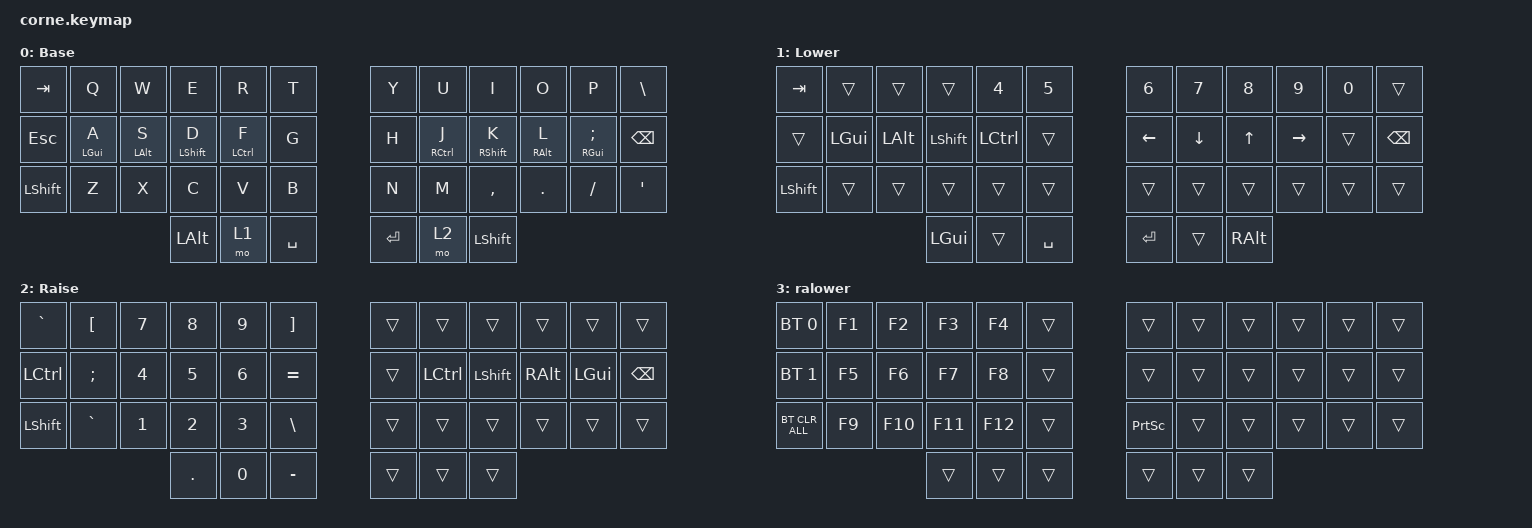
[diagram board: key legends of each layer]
/*
 * Copyright (c) 2020 The ZMK Contributors
 *
 * SPDX-License-Identifier: MIT
 */

#include <behaviors.dtsi>
#include <dt-bindings/zmk/bt.h>
#include <dt-bindings/zmk/keys.h>

/ {
    behaviors {
        hml: homerow_mods_left {
            compatible = "zmk,behavior-hold-tap";
            label = "HOMEROW_MODS_LEFT_HAND";
            bindings = <&kp>, <&kp>;

            #binding-cells = <2>;
            tapping-term-ms = <155>;
            hold-trigger-key-positions = <6 7 8 9 10 11 18 19 20 21 22 23 30 31 32 33 34 35 39 40 41 0 1 2 3 4 5 12 13 14 15 16 17 24 25 26 27 28 29 36 37 38 39>;
            flavor = "tap-preferred";
        };

        hmr: homewrow_mods_right {
            compatible = "zmk,behavior-hold-tap";
            label = "HOMEROW_MODS_RIGHT_HAND";
            bindings = <&kp>, <&kp>;

            #binding-cells = <2>;
            tapping-term-ms = <155>;
            hold-trigger-key-positions = <0 1 2 5 12 13 14 15 16 17 24 25 26 27 28 29 36 37 38 3 4 6 7 8 9 10 11 18 19 20 21 22 23 30 31 32 33 34 35 40 41 38 39 40>;
            flavor = "tap-preferred";
        };
    };

    keymap {
        compatible = "zmk,keymap";

        default_layer {
            // -----------------------------------------------------------------------------------------
            // |  TAB |  Q  |  W  |  E  |  R  |  T  |   |  Y  |  U   |  I  |  O  |  P  | BKSP |
            // | CTRL |  A  |  S  |  D  |  F  |  G  |   |  H  |  J   |  K  |  L  |  ;  |  '   |
            // | SHFT |  Z  |  X  |  C  |  V  |  B  |   |  N  |  M   |  ,  |  .  |  /  | ESC  |
            //                    | GUI | LWR | SPC |   | ENT | RSE  | ALT |

            display-name = "Base";
            bindings = <
&kp TAB    &kp Q            &kp W            &kp E              &kp R         &kp T        &kp Y    &kp U         &kp I               &kp O             &kp P                &kp BACKSLASH
&kp ESC    &hml LEFT_GUI A  &hml LEFT_ALT S  &hml LEFT_SHIFT D  &hml LCTRL F  &kp G        &kp H    &hmr RCTRL J  &hmr RIGHT_SHIFT K  &hmr RIGHT_ALT L  &hmr RIGHT_GUI SEMI  &kp BACKSPACE
&kp LSHFT  &kp Z            &kp X            &kp C              &kp V         &kp B        &kp N    &kp M         &kp COMMA           &kp DOT           &kp FSLH             &kp SQT
                                             &kp LEFT_ALT       &mo 1         &kp SPACE    &kp RET  &mo 2         &kp LEFT_SHIFT
            >;
        };

        lower_layer {
            // -----------------------------------------------------------------------------------------
            // |  TAB |  1  |  2  |  3  |  4  |  5  |   |  6  |  7  |  8  |  9  |  0  | BKSP |
            // | BTCLR| BT1 | BT2 | BT3 | BT4 | BT5 |   | LFT | DWN |  UP | RGT |     |      |
            // | SHFT |     |     |     |     |     |   |     |     |     |     |     |      |
            //                    | GUI |     | SPC |   | ENT |     | ALT |

            display-name = "Lower";
            bindings = <
&kp TAB    &trans        &trans        &trans          &kp N4     &kp N5       &kp N6    &kp N7    &kp N8    &kp N9     &kp N0  &trans
&trans     &kp LEFT_GUI  &kp LEFT_ALT  &kp LEFT_SHIFT  &kp LCTRL  &trans       &kp LEFT  &kp DOWN  &kp UP    &kp RIGHT  &trans  &kp BACKSPACE
&kp LSHFT  &trans        &trans        &trans          &trans     &trans       &trans    &trans    &trans    &trans     &trans  &trans
                                       &kp LGUI        &trans     &kp SPACE    &kp RET   &trans    &kp RALT
            >;
        };

        raise_layer {
            // -----------------------------------------------------------------------------------------
            // |  TAB |  !  |  @  |  #  |  $  |  %  |   |  ^  |  &  |  *  |  (  |  )  | BKSP |
            // | CTRL |     |     |     |     |     |   |  -  |  =  |  [  |  ]  |  \  |  `   |
            // | SHFT |     |     |     |     |     |   |  _  |  +  |  {  |  }  | "|" |  ~   |
            //                    | GUI |     | SPC |   | ENT |     | ALT |

            display-name = "Raise";
            bindings = <
&kp GRAVE  &kp LEFT_BRACKET  &kp NUMBER_7  &kp N8        &kp N9        &kp RIGHT_BRACKET    &trans  &trans     &trans          &trans         &trans        &trans
&kp LCTRL  &kp SEMICOLON     &kp NUMBER_4  &kp NUMBER_5  &kp NUMBER_6  &kp EQUAL            &trans  &kp LCTRL  &kp LEFT_SHIFT  &kp RIGHT_ALT  &kp LEFT_GUI  &kp BACKSPACE
&kp LSHFT  &kp GRAVE         &kp NUMBER_1  &kp NUMBER_2  &kp NUMBER_3  &kp BACKSLASH        &trans  &trans     &trans          &trans         &trans        &trans
                                           &kp PERIOD    &kp NUMBER_0  &kp MINUS            &trans  &trans     &trans
            >;
        };

        ralower {
            bindings = <
&bt BT_SEL 0    &kp F1  &kp F2   &kp F3   &kp F4   &trans    &trans           &trans  &trans  &trans  &trans  &trans
&bt BT_SEL 1    &kp F5  &kp F6   &kp F7   &kp F8   &trans    &trans           &trans  &trans  &trans  &trans  &trans
&bt BT_CLR_ALL  &kp F9  &kp F10  &kp F11  &kp F12  &trans    &kp PRINTSCREEN  &trans  &trans  &trans  &trans  &trans
                                 &trans   &trans   &trans    &trans           &trans  &trans
            >;
        };
    };

    conditional_layers {
        compatible = "zmk,conditional-layers";

        layer3hold {
            if-layers = <1 2>;
            then-layer = <3>;
        };
    };
};
